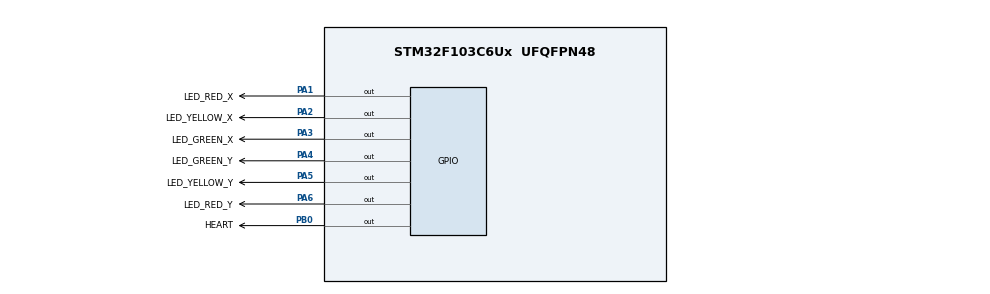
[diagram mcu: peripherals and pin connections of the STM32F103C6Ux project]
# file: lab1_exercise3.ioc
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Mcu.Family=STM32F1
Mcu.Name=STM32F103C6Ux
Mcu.Package=UFQFPN48
NVIC.PriorityGroup=NVIC_PRIORITYGROUP_4
PA1.GPIO_Label=LED_RED_X
PA1.Signal=GPIO_Output
PA2.GPIO_Label=LED_YELLOW_X
PA2.Signal=GPIO_Output
PA3.GPIO_Label=LED_GREEN_X
PA3.Signal=GPIO_Output
PA4.GPIO_Label=LED_GREEN_Y
PA4.Signal=GPIO_Output
PA5.GPIO_Label=LED_YELLOW_Y
PA5.Signal=GPIO_Output
PA6.GPIO_Label=LED_RED_Y
PA6.Signal=GPIO_Output
PB0.GPIO_Label=HEART
PB0.Signal=GPIO_Output
ProjectManager.HeapSize=0x200
ProjectManager.StackSize=0x400
ProjectManager.TargetToolchain=STM32CubeIDE
RCC.APB1Freq_Value=8000000
RCC.APB2Freq_Value=8000000
VP_SYS_VS_ND.Mode=No_Debug
board=custom

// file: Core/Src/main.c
/* USER CODE BEGIN Header */
/**
  ******************************************************************************
  * @file           : main.c
  * @brief          : Main program body
  ******************************************************************************
  * @attention
  *
  * <h2><center>&copy; Copyright (c) 2025 STMicroelectronics.
  * All rights reserved.</center></h2>
  *
  * This software component is licensed by ST under BSD 3-Clause license,
  * the "License"; You may not use this file except in compliance with the
  * License. You may obtain a copy of the License at:
  *                        opensource.org/licenses/BSD-3-Clause
  *
  ******************************************************************************
  */
/* USER CODE END Header */
#include "main.h"

/* USER CODE BEGIN PV */
int count_x = 10;
int count_y = 10;
/* USER CODE END PV */

void SystemClock_Config(void);
static void MX_GPIO_Init(void);
/* USER CODE BEGIN PFP */
void Turn_Led_On(uint16_t ledOn, uint16_t ledOff1, uint16_t ledOff2)
{
	//function to turn on 1 led and turn off others
	HAL_GPIO_WritePin(GPIOA, ledOn, RESET);
	HAL_GPIO_WritePin(GPIOA, ledOff1, SET);
	HAL_GPIO_WritePin(GPIOA, ledOff2, SET);
}

void Horizontal_Lights(int timer)
{
	if(timer > 5)
	{
	  Turn_Led_On(LED_RED_X_Pin, LED_YELLOW_X_Pin, LED_GREEN_X_Pin);
	}
	else if(timer > 2)
	{
	  Turn_Led_On(LED_GREEN_X_Pin, LED_RED_X_Pin, LED_YELLOW_X_Pin);
	}
	else if(timer > 0)
	{
	  Turn_Led_On(LED_YELLOW_X_Pin, LED_RED_X_Pin, LED_GREEN_X_Pin);
	}
}
void Vertical_Lights(int timer)
{
	if(count_y > 7)
	{
	  Turn_Led_On(LED_GREEN_Y_Pin, LED_RED_Y_Pin, LED_YELLOW_Y_Pin);
	}
	else if(count_y >5)
	{
	  Turn_Led_On(LED_YELLOW_Y_Pin, LED_GREEN_Y_Pin, LED_RED_Y_Pin);
	}
	else if(count_y > 0)
	{
	  Turn_Led_On(LED_RED_Y_Pin, LED_GREEN_Y_Pin, LED_YELLOW_Y_Pin);
	}
}

/* USER CODE END PFP */

int main(void)
{

  /* MCU Configuration--------------------------------------------------------*/

  /* Reset of all peripherals, Initializes the Flash interface and the Systick. */
  HAL_Init();

  /* Configure the system clock */
  SystemClock_Config();

  /* Initialize all configured peripherals */
  MX_GPIO_Init();

  /* Infinite loop */
  /* USER CODE BEGIN WHILE */
  while (1)
  {
	// RESET COUNTDOWNS
	if(count_x == 0) count_x = 10;
	if(count_y == 0) count_y = 10;

	///----- HORIZONTAL LIGHTS -----///
	Horizontal_Lights(count_x);

	///----- VERTICAL LIGHTS -----///
	Vertical_Lights(count_y);

	//COUNTDOWN
	count_x--;
	count_y--;

	HAL_GPIO_TogglePin(HEART_GPIO_Port, HEART_Pin); //STM32's heart beat
	HAL_Delay(1000);
  }
  /* USER CODE END 3 */
}

void SystemClock_Config(void)
{
  RCC_OscInitTypeDef RCC_OscInitStruct = {0};
  RCC_ClkInitTypeDef RCC_ClkInitStruct = {0};

  /** Initializes the RCC Oscillators according to the specified parameters
  * in the RCC_OscInitTypeDef structure.
  */
  RCC_OscInitStruct.OscillatorType = RCC_OSCILLATORTYPE_HSI;
  RCC_OscInitStruct.HSIState = RCC_HSI_ON;
  RCC_OscInitStruct.HSICalibrationValue = RCC_HSICALIBRATION_DEFAULT;
  RCC_OscInitStruct.PLL.PLLState = RCC_PLL_NONE;
  if (HAL_RCC_OscConfig(&RCC_OscInitStruct) != HAL_OK)
  {
    Error_Handler();
  }
  /** Initializes the CPU, AHB and APB buses clocks
  */
  RCC_ClkInitStruct.ClockType = RCC_CLOCKTYPE_HCLK|RCC_CLOCKTYPE_SYSCLK
                              |RCC_CLOCKTYPE_PCLK1|RCC_CLOCKTYPE_PCLK2;
  RCC_ClkInitStruct.SYSCLKSource = RCC_SYSCLKSOURCE_HSI;
  RCC_ClkInitStruct.AHBCLKDivider = RCC_SYSCLK_DIV1;
  RCC_ClkInitStruct.APB1CLKDivider = RCC_HCLK_DIV1;
  RCC_ClkInitStruct.APB2CLKDivider = RCC_HCLK_DIV1;

  if (HAL_RCC_ClockConfig(&RCC_ClkInitStruct, FLASH_LATENCY_0) != HAL_OK)
  {
    Error_Handler();
  }
}

static void MX_GPIO_Init(void)
{
  GPIO_InitTypeDef GPIO_InitStruct = {0};

  /* GPIO Ports Clock Enable */
  __HAL_RCC_GPIOA_CLK_ENABLE();
  __HAL_RCC_GPIOB_CLK_ENABLE();

  /*Configure GPIO pin Output Level */
  HAL_GPIO_WritePin(GPIOA, LED_RED_X_Pin|LED_YELLOW_X_Pin|LED_GREEN_X_Pin|LED_GREEN_Y_Pin
                          |LED_YELLOW_Y_Pin|LED_RED_Y_Pin, GPIO_PIN_RESET);

  /*Configure GPIO pin Output Level */
  HAL_GPIO_WritePin(HEART_GPIO_Port, HEART_Pin, GPIO_PIN_RESET);

  /*Configure GPIO pins : LED_RED_X_Pin LED_YELLOW_X_Pin LED_GREEN_X_Pin LED_GREEN_Y_Pin
                           LED_YELLOW_Y_Pin LED_RED_Y_Pin */
  GPIO_InitStruct.Pin = LED_RED_X_Pin|LED_YELLOW_X_Pin|LED_GREEN_X_Pin|LED_GREEN_Y_Pin
                          |LED_YELLOW_Y_Pin|LED_RED_Y_Pin;
  GPIO_InitStruct.Mode = GPIO_MODE_OUTPUT_PP;
  GPIO_InitStruct.Pull = GPIO_NOPULL;
  GPIO_InitStruct.Speed = GPIO_SPEED_FREQ_LOW;
  HAL_GPIO_Init(GPIOA, &GPIO_InitStruct);

  /*Configure GPIO pin : HEART_Pin */
  GPIO_InitStruct.Pin = HEART_Pin;
  GPIO_InitStruct.Mode = GPIO_MODE_OUTPUT_PP;
  GPIO_InitStruct.Pull = GPIO_NOPULL;
  GPIO_InitStruct.Speed = GPIO_SPEED_FREQ_LOW;
  HAL_GPIO_Init(HEART_GPIO_Port, &GPIO_InitStruct);

}

void Error_Handler(void)
{
  __disable_irq();
  while (1)
  {
  }
}

/************************ (C) COPYRIGHT STMicroelectronics *****END OF FILE****/
